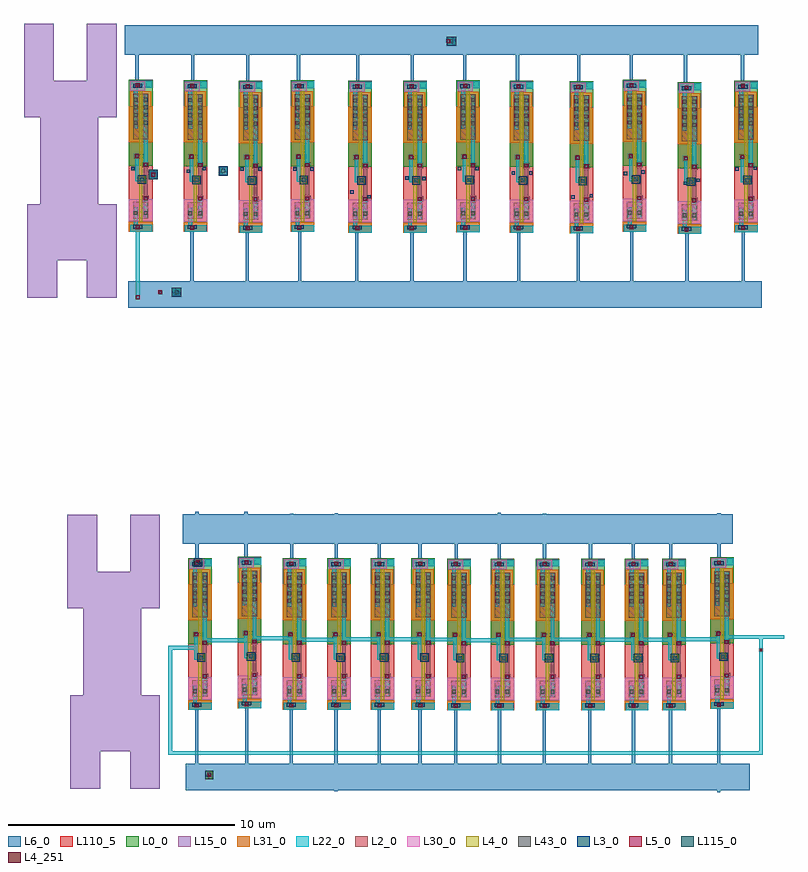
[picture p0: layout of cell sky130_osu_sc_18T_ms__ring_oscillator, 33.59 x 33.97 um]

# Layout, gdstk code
import gdstk
lib = gdstk.Library(unit=1e-6, precision=1e-09)
def R(c, l, rs):  # rectangles x0, y0, x1, y1
    for r in rs: c.add(gdstk.rectangle(r[:2], r[2:], *l))
def A(c, l, x, y, w, h, nx, ny, dx, dy):  # array of equal rectangles
    R(c, l, [(x+i*dx, y+j*dy, x+i*dx+w, y+j*dy+h) for i in range(nx) for j in range(ny)])
L0_0 = (0, 0)
L2_0 = (2, 0)
L3_0 = (3, 0)
L4_0 = (4, 0)
L4_251 = (4, 251)
L5_0 = (5, 0)
L6_0 = (6, 0)
L15_0 = (15, 0)
L22_0 = (22, 0)
L30_0 = (30, 0)
L31_0 = (31, 0)
L43_0 = (43, 0)
L110_5 = (110, 5)
L115_0 = (115, 0)

sky130_osu_sc_18t_ms__in = lib.new_cell('sky130_osu_sc_18T_ms__inv_l')
R(sky130_osu_sc_18t_ms__in, L0_0, [(-0.045,2.905,0.995,6.705)])
R(sky130_osu_sc_18t_ms__in, L2_0, [(0.135,0.575,0.815,1.315), (0.135,4.085,0.815,6.085)])
R(sky130_osu_sc_18t_ms__in, L3_0, [(0.135,0.135,0.545,0.305), (0.135,6.355,0.545,6.525)])
R(sky130_osu_sc_18t_ms__in, L4_0, [(0.4,0.445,0.55,2.14), (0.4,2.14,0.67,2.47), (0.4,2.47,0.55,6.215)])
R(sky130_osu_sc_18t_ms__in, L5_0, [(0.255,0.105,0.425,0.275), (0.605,1.395,0.775,1.565), (0.605,2.875,0.775,3.045), (0.235,3.245,0.405,3.415), (0.255,6.385,0.425,6.555)])
R(sky130_osu_sc_18t_ms__in, L6_0, [(0,0,0.99,0.305), (0.545,1.365,0.835,1.595), (0.605,1.595,0.775,2.845), (0.545,2.845,0.835,3.075), (0.175,3.215,0.465,3.245), (0.175,3.245,0.635,3.415), (0.175,3.415,0.465,3.445), (0,6.355,0.99,6.66)])
R(sky130_osu_sc_18t_ms__in, L22_0, [(0,0,0.99,0.305), (0.175,0.305,0.345,1.075), (0.605,0.575,0.775,1.565), (0.235,2.22,0.7,2.39), (0.235,2.39,0.405,3.415), (0.605,2.875,0.775,6.085), (0.175,4.565,0.345,6.355), (0,6.355,0.99,6.66)])
R(sky130_osu_sc_18t_ms__in, L30_0, [(-0.045,0.45,0.995,1.44), (0.01,6.23,0.67,6.65)])
R(sky130_osu_sc_18t_ms__in, L31_0, [(-0.045,0,0.995,0.43), (-0.045,3.96,0.995,5.55), (0.01,5.55,0.94,6.21)])
A(sky130_osu_sc_18t_ms__in, L43_0, 0.175, 4.73, 0.17, 0.17, 1, 4, 0, 0.34)
A(sky130_osu_sc_18t_ms__in, L43_0, 0.605, 4.73, 0.17, 0.17, 1, 4, 0, 0.34)
R(sky130_osu_sc_18t_ms__in, L43_0, [(0.255,0.135,0.425,0.305), (0.175,0.74,0.345,0.91), (0.605,0.74,0.775,0.91), (0.45,2.22,0.62,2.39), (0.255,6.355,0.425,6.525)])
R(sky130_osu_sc_18t_ms__in, L110_5, [(-0.045,0,0.995,5.55)])
R(sky130_osu_sc_18t_ms__in, L115_0, [(0.35,2.12,0.72,2.49)])
sky130_osu_sc_18t_ms__in.add(gdstk.Label('vdd', (0.34,6.42), layer=6, texttype=251))
sky130_osu_sc_18t_ms__in.add(gdstk.Label('gnd', (0.34,0.24), layer=6, texttype=251))
sky130_osu_sc_18t_ms__in.add(gdstk.Label('Y', (0.755,2.205), layer=6, texttype=237))
sky130_osu_sc_18t_ms__in.add(gdstk.Label('A', (0.32,3.33), layer=6, texttype=237))

l1m1_c_cdns_713472210840 = lib.new_cell('L1M1_C_CDNS_713472210840')
R(l1m1_c_cdns_713472210840, L5_0, [(-0.085,-0.085,0.085,0.085)])
R(l1m1_c_cdns_713472210840, L6_0, [(-0.145,-0.145,0.145,0.145)])
R(l1m1_c_cdns_713472210840, L22_0, [(-0.085,-0.085,0.085,0.085)])

tpl1_c_cdns_713472210841 = lib.new_cell('TPL1_C_CDNS_713472210841')
R(tpl1_c_cdns_713472210841, L3_0, [(-0.205,-0.205,0.205,0.205)])
R(tpl1_c_cdns_713472210841, L22_0, [(-0.165,-0.165,0.165,0.165)])
R(tpl1_c_cdns_713472210841, L43_0, [(-0.085,-0.085,0.085,0.085)])

pyl1_c_cdns_713472210842 = lib.new_cell('PYL1_C_CDNS_713472210842')
R(pyl1_c_cdns_713472210842, L4_0, [(-0.165,-0.165,0.165,0.165)])
R(pyl1_c_cdns_713472210842, L22_0, [(-0.165,-0.165,0.165,0.165)])
R(pyl1_c_cdns_713472210842, L43_0, [(-0.085,-0.085,0.085,0.085)])
R(pyl1_c_cdns_713472210842, L115_0, [(-0.185,-0.185,0.185,0.185)])

sky130_osu_sc_18t_ms__ri = lib.new_cell('sky130_osu_sc_18T_ms__ring_oscillator')
R(sky130_osu_sc_18t_ms__ri, L3_0, [(7.605,22.305,7.755,22.455), (25.83,26.52,25.98,26.67), (16.81,26.53,16.96,26.68), (26.64,26.575,26.79,26.725), (16.065,26.745,16.215,26.895), (30.805,27.13,30.955,27.28), (31.36,27.26,31.51,27.41), (19.245,27.345,19.395,27.495), (18.49,27.355,18.64,27.505), (28.16,27.555,28.31,27.705), (23.195,27.575,23.345,27.725), (23.965,27.575,24.115,27.725), (28.935,27.62,29.085,27.77), (7.36,27.635,7.51,27.785), (8.845,27.66,8.995,27.81), (11.21,27.75,11.36,27.9), (12,27.75,12.15,27.9), (13.54,27.765,13.69,27.915), (14.295,27.765,14.445,27.915), (33.09,27.765,33.24,27.915), (20.82,27.775,20.97,27.925), (21.59,27.775,21.74,27.925), (6.385,27.78,6.535,27.93), (9.535,27.78,9.685,27.93), (33.89,27.79,34.04,27.94), (20.305,33.445,20.455,33.595)])
R(sky130_osu_sc_18t_ms__ri, L4_251, [(9.79,0.97,9.89,1.07), (34.165,6.53,34.265,6.63), (9.29,10.45,9.39,10.55)])
R(sky130_osu_sc_18t_ms__ri, L6_0, [(8.785,0.375,33.73,1.555), (8.665,11.27,32.965,12.57), (6.245,21.695,34.245,22.875), (6.1,32.885,34.1,34.185)])
R(sky130_osu_sc_18t_ms__ri, L15_0, [(3.695,0.45,5.015,4.58), (6.33,0.45,7.65,4.58), (4.27,2.11,6.83,10.04), (3.555,8.425,4.875,12.555), (6.33,8.425,7.65,12.555), (1.785,22.15,3.105,26.28), (4.42,22.15,5.74,26.28), (2.36,23.81,4.92,31.74), (1.645,30.125,2.965,34.255), (4.42,30.125,5.74,34.255)])
sky130_osu_sc_18t_ms__ri.add(gdstk.FlexPath([(6.675,25.305),(6.675,22.075)], 0.17, ends="flush", simple_path=True, layer=22, datatype=0))  # L22_0
sky130_osu_sc_18t_ms__ri.add(gdstk.FlexPath([(30.495,7.055),(32.425,7.055)], 0.17, ends="flush", simple_path=True, layer=22, datatype=0))  # L22_0
sky130_osu_sc_18t_ms__ri.add(gdstk.FlexPath([(28.84,7.03),(30.3,7.03)], 0.17, ends="flush", simple_path=True, layer=22, datatype=0))  # L22_0
sky130_osu_sc_18t_ms__ri.add(gdstk.FlexPath([(26.93,7.02),(28.645,7.02)], 0.17, ends="flush", simple_path=True, layer=22, datatype=0))  # L22_0
sky130_osu_sc_18t_ms__ri.add(gdstk.FlexPath([(8.105,6.68),(9.36,6.68)], 0.17, ends=(0.085, 0), simple_path=True, layer=22, datatype=0))  # L22_0
sky130_osu_sc_18t_ms__ri.add(gdstk.FlexPath([(8.105,2.02),(8.105,6.68)], 0.17, ends="extended", simple_path=True, layer=22, datatype=0))  # L22_0
sky130_osu_sc_18t_ms__ri.add(gdstk.FlexPath([(34.22,2.02),(8.105,2.02)], 0.17, ends="extended", simple_path=True, layer=22, datatype=0))  # L22_0
sky130_osu_sc_18t_ms__ri.add(gdstk.FlexPath([(34.22,7.15),(34.22,2.02)], 0.17, ends="extended", simple_path=True, layer=22, datatype=0))  # L22_0
sky130_osu_sc_18t_ms__ri.add(gdstk.FlexPath([(32.625,7.15),(34.22,7.15)], 0.17, ends=(0, 0.085), simple_path=True, layer=22, datatype=0))  # L22_0
sky130_osu_sc_18t_ms__ri.add(gdstk.FlexPath([(35.15,7.15),(35.15,7.135)], 0.17, ends=(0.085, 0), simple_path=True, layer=22, datatype=0))  # L22_0
sky130_osu_sc_18t_ms__ri.add(gdstk.FlexPath([(34.22,7.15),(35.15,7.15)], 0.17, ends="extended", simple_path=True, layer=22, datatype=0))  # L22_0
sky130_osu_sc_18t_ms__ri.add(gdstk.FlexPath([(11.77,7.095),(13.52,7.095)], 0.17, ends="flush", simple_path=True, layer=22, datatype=0))  # L22_0
sky130_osu_sc_18t_ms__ri.add(gdstk.FlexPath([(9.555,7.01),(11.555,7.01)], 0.17, ends="flush", simple_path=True, layer=22, datatype=0))  # L22_0
sky130_osu_sc_18t_ms__ri.add(gdstk.FlexPath([(17.62,7.055),(19.22,7.055)], 0.17, ends="flush", simple_path=True, layer=22, datatype=0))  # L22_0
sky130_osu_sc_18t_ms__ri.add(gdstk.FlexPath([(13.725,7.03),(15.515,7.03)], 0.17, ends="flush", simple_path=True, layer=22, datatype=0))  # L22_0
sky130_osu_sc_18t_ms__ri.add(gdstk.FlexPath([(15.71,7.055),(17.415,7.055)], 0.17, ends="flush", simple_path=True, layer=22, datatype=0))  # L22_0
sky130_osu_sc_18t_ms__ri.add(gdstk.FlexPath([(19.405,7.04),(20.795,7.04)], 0.17, ends="flush", simple_path=True, layer=22, datatype=0))  # L22_0
sky130_osu_sc_18t_ms__ri.add(gdstk.FlexPath([(24.92,7.04),(26.725,7.04)], 0.17, ends="flush", simple_path=True, layer=22, datatype=0))  # L22_0
sky130_osu_sc_18t_ms__ri.add(gdstk.FlexPath([(20.99,7.01),(22.72,7.01)], 0.17, ends="flush", simple_path=True, layer=22, datatype=0))  # L22_0
sky130_osu_sc_18t_ms__ri.add(gdstk.FlexPath([(22.925,7.04),(24.715,7.04)], 0.17, ends="flush", simple_path=True, layer=22, datatype=0))  # L22_0
sky130_osu_sc_18t_ms__ri.add(gdstk.FlexPath([(6.945,27.65),(7.36,27.65)], 0.14, ends=(0, 0.145), simple_path=True, layer=6, datatype=0))  # L6_0
sky130_osu_sc_18t_ms__ri.add(gdstk.FlexPath([(7.36,27.65),(7.36,27.575)], 0.29, ends=(0.07, 0), simple_path=True, layer=6, datatype=0))  # L6_0
sky130_osu_sc_18t_ms__ri.add(gdstk.FlexPath([(30.95,25.235),(30.95,22.14)], 0.14, ends="flush", simple_path=True, layer=6, datatype=0))  # L6_0
sky130_osu_sc_18t_ms__ri.add(gdstk.FlexPath([(28.505,25.315),(28.505,22.02)], 0.14, ends="flush", simple_path=True, layer=6, datatype=0))  # L6_0
sky130_osu_sc_18t_ms__ri.add(gdstk.FlexPath([(26.145,22.19),(26.195,22.19)], 0.14, ends=(0.07, 0), simple_path=True, layer=6, datatype=0))  # L6_0
sky130_osu_sc_18t_ms__ri.add(gdstk.FlexPath([(26.145,25.29),(26.145,22.19)], 0.14, ends=(0, 0.07), simple_path=True, layer=6, datatype=0))  # L6_0
sky130_osu_sc_18t_ms__ri.add(gdstk.FlexPath([(23.505,25.275),(23.505,22.085)], 0.14, ends="flush", simple_path=True, layer=6, datatype=0))  # L6_0
sky130_osu_sc_18t_ms__ri.add(gdstk.FlexPath([(21.135,25.26),(21.135,21.89)], 0.14, ends="flush", simple_path=True, layer=6, datatype=0))  # L6_0
sky130_osu_sc_18t_ms__ri.add(gdstk.FlexPath([(18.795,25.285),(18.795,21.885)], 0.14, ends="flush", simple_path=True, layer=6, datatype=0))  # L6_0
sky130_osu_sc_18t_ms__ri.add(gdstk.FlexPath([(16.355,25.3),(16.355,21.955)], 0.14, ends="flush", simple_path=True, layer=6, datatype=0))  # L6_0
sky130_osu_sc_18t_ms__ri.add(gdstk.FlexPath([(13.835,25.34),(13.835,21.84)], 0.14, ends="flush", simple_path=True, layer=6, datatype=0))  # L6_0
sky130_osu_sc_18t_ms__ri.add(gdstk.FlexPath([(11.515,25.275),(11.515,22.285)], 0.14, ends=(0, 0.59), simple_path=True, layer=6, datatype=0))  # L6_0
sky130_osu_sc_18t_ms__ri.add(gdstk.FlexPath([(9.07,25.325),(9.07,22.285)], 0.14, ends=(0, 0.59), simple_path=True, layer=6, datatype=0))  # L6_0
sky130_osu_sc_18t_ms__ri.add(gdstk.FlexPath([(33.44,25.255),(33.44,22.11)], 0.14, ends="flush", simple_path=True, layer=6, datatype=0))  # L6_0
sky130_osu_sc_18t_ms__ri.add(gdstk.FlexPath([(6.64,33.58),(6.675,33.58)], 0.14, ends=(0.07, 0), simple_path=True, layer=6, datatype=0))  # L6_0
sky130_osu_sc_18t_ms__ri.add(gdstk.FlexPath([(33.4,31.445),(33.4,33.595)], 0.14, ends="flush", simple_path=True, layer=6, datatype=0))  # L6_0
sky130_osu_sc_18t_ms__ri.add(gdstk.FlexPath([(6.64,31.46),(6.64,33.58)], 0.14, ends=(0, 0.07), simple_path=True, layer=6, datatype=0))  # L6_0
sky130_osu_sc_18t_ms__ri.add(gdstk.FlexPath([(9.105,31.46),(9.105,33.63)], 0.14, ends="flush", simple_path=True, layer=6, datatype=0))  # L6_0
sky130_osu_sc_18t_ms__ri.add(gdstk.FlexPath([(11.53,31.43),(11.53,33.665)], 0.14, ends="flush", simple_path=True, layer=6, datatype=0))  # L6_0
sky130_osu_sc_18t_ms__ri.add(gdstk.FlexPath([(13.775,31.445),(13.775,33.77)], 0.14, ends="flush", simple_path=True, layer=6, datatype=0))  # L6_0
sky130_osu_sc_18t_ms__ri.add(gdstk.FlexPath([(16.39,31.46),(16.39,33.715)], 0.14, ends="flush", simple_path=True, layer=6, datatype=0))  # L6_0
sky130_osu_sc_18t_ms__ri.add(gdstk.FlexPath([(18.8,31.445),(18.8,33.525)], 0.14, ends="flush", simple_path=True, layer=6, datatype=0))  # L6_0
sky130_osu_sc_18t_ms__ri.add(gdstk.FlexPath([(21.125,31.43),(21.125,33.49)], 0.14, ends="flush", simple_path=True, layer=6, datatype=0))  # L6_0
sky130_osu_sc_18t_ms__ri.add(gdstk.FlexPath([(23.46,31.43),(23.46,33.525)], 0.14, ends="flush", simple_path=True, layer=6, datatype=0))  # L6_0
sky130_osu_sc_18t_ms__ri.add(gdstk.FlexPath([(26.17,31.46),(26.17,33.58)], 0.14, ends="flush", simple_path=True, layer=6, datatype=0))  # L6_0
sky130_osu_sc_18t_ms__ri.add(gdstk.FlexPath([(28.49,31.515),(28.49,33.645)], 0.14, ends="flush", simple_path=True, layer=6, datatype=0))  # L6_0
sky130_osu_sc_18t_ms__ri.add(gdstk.FlexPath([(30.88,31.395),(30.88,33.615)], 0.14, ends="flush", simple_path=True, layer=6, datatype=0))  # L6_0
sky130_osu_sc_18t_ms__ri.add(gdstk.FlexPath([(9.28,4.21),(9.28,0.405)], 0.14, ends="flush", simple_path=True, layer=6, datatype=0))  # L6_0
sky130_osu_sc_18t_ms__ri.add(gdstk.FlexPath([(11.49,4.265),(11.49,0.4)], 0.14, ends="flush", simple_path=True, layer=6, datatype=0))  # L6_0
sky130_osu_sc_18t_ms__ri.add(gdstk.FlexPath([(13.46,4.215),(13.46,0.385)], 0.14, ends="flush", simple_path=True, layer=6, datatype=0))  # L6_0
sky130_osu_sc_18t_ms__ri.add(gdstk.FlexPath([(15.435,0.4),(15.5,0.4)], 0.14, ends=(0.07, 0), simple_path=True, layer=6, datatype=0))  # L6_0
sky130_osu_sc_18t_ms__ri.add(gdstk.FlexPath([(15.435,4.21),(15.435,0.4)], 0.14, ends=(0, 0.07), simple_path=True, layer=6, datatype=0))  # L6_0
sky130_osu_sc_18t_ms__ri.add(gdstk.FlexPath([(17.35,4.195),(17.35,0.385)], 0.14, ends="flush", simple_path=True, layer=6, datatype=0))  # L6_0
sky130_osu_sc_18t_ms__ri.add(gdstk.FlexPath([(19.145,4.195),(19.145,0.365)], 0.14, ends="flush", simple_path=True, layer=6, datatype=0))  # L6_0
sky130_osu_sc_18t_ms__ri.add(gdstk.FlexPath([(20.73,4.195),(20.73,0.405)], 0.14, ends="flush", simple_path=True, layer=6, datatype=0))  # L6_0
sky130_osu_sc_18t_ms__ri.add(gdstk.FlexPath([(22.66,4.19),(22.66,0.39)], 0.14, ends="flush", simple_path=True, layer=6, datatype=0))  # L6_0
sky130_osu_sc_18t_ms__ri.add(gdstk.FlexPath([(24.64,4.175),(24.64,0.395)], 0.14, ends="flush", simple_path=True, layer=6, datatype=0))  # L6_0
sky130_osu_sc_18t_ms__ri.add(gdstk.FlexPath([(26.65,4.185),(26.65,0.375)], 0.14, ends="flush", simple_path=True, layer=6, datatype=0))  # L6_0
sky130_osu_sc_18t_ms__ri.add(gdstk.FlexPath([(28.58,4.195),(28.58,0.425)], 0.14, ends="flush", simple_path=True, layer=6, datatype=0))  # L6_0
sky130_osu_sc_18t_ms__ri.add(gdstk.FlexPath([(30.215,4.2),(30.215,0.385)], 0.14, ends="flush", simple_path=True, layer=6, datatype=0))  # L6_0
sky130_osu_sc_18t_ms__ri.add(gdstk.FlexPath([(32.355,4.23),(32.355,0.285)], 0.14, ends="flush", simple_path=True, layer=6, datatype=0))  # L6_0
sky130_osu_sc_18t_ms__ri.add(gdstk.FlexPath([(32.36,10.355),(32.36,12.62)], 0.14, ends="flush", simple_path=True, layer=6, datatype=0))  # L6_0
sky130_osu_sc_18t_ms__ri.add(gdstk.FlexPath([(30.225,10.305),(30.225,12.56)], 0.14, ends="flush", simple_path=True, layer=6, datatype=0))  # L6_0
sky130_osu_sc_18t_ms__ri.add(gdstk.FlexPath([(28.57,10.295),(28.57,12.525)], 0.14, ends="flush", simple_path=True, layer=6, datatype=0))  # L6_0
sky130_osu_sc_18t_ms__ri.add(gdstk.FlexPath([(26.68,10.3),(26.68,12.585)], 0.14, ends="flush", simple_path=True, layer=6, datatype=0))  # L6_0
sky130_osu_sc_18t_ms__ri.add(gdstk.FlexPath([(24.65,10.3),(24.65,12.595)], 0.14, ends="flush", simple_path=True, layer=6, datatype=0))  # L6_0
sky130_osu_sc_18t_ms__ri.add(gdstk.FlexPath([(22.645,10.295),(22.645,12.65)], 0.14, ends="flush", simple_path=True, layer=6, datatype=0))  # L6_0
sky130_osu_sc_18t_ms__ri.add(gdstk.FlexPath([(20.745,10.305),(20.745,12.55)], 0.14, ends="flush", simple_path=True, layer=6, datatype=0))  # L6_0
sky130_osu_sc_18t_ms__ri.add(gdstk.FlexPath([(19.145,10.32),(19.145,12.565)], 0.14, ends="flush", simple_path=True, layer=6, datatype=0))  # L6_0
sky130_osu_sc_18t_ms__ri.add(gdstk.FlexPath([(17.35,10.32),(17.35,12.58)], 0.14, ends="flush", simple_path=True, layer=6, datatype=0))  # L6_0
sky130_osu_sc_18t_ms__ri.add(gdstk.FlexPath([(15.44,10.325),(15.44,12.625)], 0.14, ends="flush", simple_path=True, layer=6, datatype=0))  # L6_0
sky130_osu_sc_18t_ms__ri.add(gdstk.FlexPath([(13.48,10.31),(13.48,12.605)], 0.14, ends="flush", simple_path=True, layer=6, datatype=0))  # L6_0
sky130_osu_sc_18t_ms__ri.add(gdstk.FlexPath([(11.455,10.385),(11.455,12.675)], 0.14, ends="flush", simple_path=True, layer=6, datatype=0))  # L6_0
sky130_osu_sc_18t_ms__ri.add(gdstk.FlexPath([(9.29,10.325),(9.29,12.68)], 0.14, ends="flush", simple_path=True, layer=6, datatype=0))  # L6_0
sky130_osu_sc_18t_ms__ri.add(gdstk.Reference(sky130_osu_sc_18t_ms__in, (16.03,25.025)))
sky130_osu_sc_18t_ms__ri.add(gdstk.Reference(sky130_osu_sc_18t_ms__in, (23.16,25.025)))
sky130_osu_sc_18t_ms__ri.add(gdstk.Reference(sky130_osu_sc_18t_ms__in, (6.33,25.065)))
sky130_osu_sc_18t_ms__ri.add(gdstk.Reference(sky130_osu_sc_18t_ms__in, (13.475,25.05)))
sky130_osu_sc_18t_ms__ri.add(gdstk.Reference(sky130_osu_sc_18t_ms__in, (25.805,25)))
sky130_osu_sc_18t_ms__ri.add(gdstk.Reference(sky130_osu_sc_18t_ms__in, (33.08,25.035)))
sky130_osu_sc_18t_ms__ri.add(gdstk.Reference(sky130_osu_sc_18t_ms__in, (18.445,25.025)))
sky130_osu_sc_18t_ms__ri.add(gdstk.Reference(sky130_osu_sc_18t_ms__in, (28.155,25.07)))
sky130_osu_sc_18t_ms__ri.add(gdstk.Reference(sky130_osu_sc_18t_ms__in, (8.74,25.05)))
sky130_osu_sc_18t_ms__ri.add(gdstk.Reference(sky130_osu_sc_18t_ms__in, (11.19,25.02)))
sky130_osu_sc_18t_ms__ri.add(gdstk.Reference(sky130_osu_sc_18t_ms__in, (20.8,25.045)))
sky130_osu_sc_18t_ms__ri.add(gdstk.Reference(sky130_osu_sc_18t_ms__in, (30.585,24.965)))
sky130_osu_sc_18t_ms__ri.add(gdstk.Reference(sky130_osu_sc_18t_ms__in, (32.02,3.97)))
sky130_osu_sc_18t_ms__ri.add(gdstk.Reference(sky130_osu_sc_18t_ms__in, (20.39,3.91)))
sky130_osu_sc_18t_ms__ri.add(gdstk.Reference(sky130_osu_sc_18t_ms__in, (26.325,3.91)))
sky130_osu_sc_18t_ms__ri.add(gdstk.Reference(sky130_osu_sc_18t_ms__in, (29.89,3.91)))
sky130_osu_sc_18t_ms__ri.add(gdstk.Reference(sky130_osu_sc_18t_ms__in, (28.24,3.91)))
sky130_osu_sc_18t_ms__ri.add(gdstk.Reference(sky130_osu_sc_18t_ms__in, (24.315,3.91)))
sky130_osu_sc_18t_ms__ri.add(gdstk.Reference(sky130_osu_sc_18t_ms__in, (22.31,3.91)))
sky130_osu_sc_18t_ms__ri.add(gdstk.Reference(sky130_osu_sc_18t_ms__in, (15.1,3.93)))
sky130_osu_sc_18t_ms__ri.add(gdstk.Reference(sky130_osu_sc_18t_ms__in, (18.815,3.93)))
sky130_osu_sc_18t_ms__ri.add(gdstk.Reference(sky130_osu_sc_18t_ms__in, (17.015,3.93)))
sky130_osu_sc_18t_ms__ri.add(gdstk.Reference(sky130_osu_sc_18t_ms__in, (13.12,3.93)))
sky130_osu_sc_18t_ms__ri.add(gdstk.Reference(sky130_osu_sc_18t_ms__in, (11.14,3.99)))
sky130_osu_sc_18t_ms__ri.add(gdstk.Reference(sky130_osu_sc_18t_ms__in, (8.945,3.93)))
sky130_osu_sc_18t_ms__ri.add(gdstk.Reference(l1m1_c_cdns_713472210840, (7.36,27.575)))
sky130_osu_sc_18t_ms__ri.add(gdstk.Reference(l1m1_c_cdns_713472210840, (7.655,22.395)))
sky130_osu_sc_18t_ms__ri.add(gdstk.Reference(l1m1_c_cdns_713472210840, (9.3,10.435)))
sky130_osu_sc_18t_ms__ri.add(gdstk.Reference(l1m1_c_cdns_713472210840, (9.845,1.055)))
sky130_osu_sc_18t_ms__ri.add(gdstk.Reference(l1m1_c_cdns_713472210840, (20.405,33.485)))
sky130_osu_sc_18t_ms__ri.add(gdstk.Reference(l1m1_c_cdns_713472210840, (6.68,22.165)))
sky130_osu_sc_18t_ms__ri.add(gdstk.Reference(tpl1_c_cdns_713472210841, (7.36,27.585)))
sky130_osu_sc_18t_ms__ri.add(gdstk.Reference(tpl1_c_cdns_713472210841, (10.455,27.75)))
sky130_osu_sc_18t_ms__ri.add(gdstk.Reference(tpl1_c_cdns_713472210841, (8.39,22.39)))
sky130_osu_sc_18t_ms__ri.add(gdstk.Reference(tpl1_c_cdns_713472210841, (20.535,33.475)))
sky130_osu_sc_18t_ms__ri.add(gdstk.Reference(pyl1_c_cdns_713472210842, (9.83,1.055)))
sky130_osu_sc_18t_ms__ri.add(gdstk.Reference(pyl1_c_cdns_713472210842, (9.34,10.445)))

lib.write_gds('sky130_osu_sc_18T_ms__ring_oscillator.gds')
